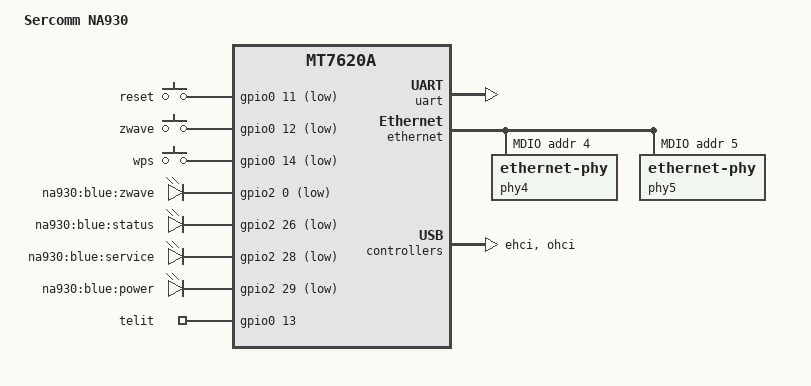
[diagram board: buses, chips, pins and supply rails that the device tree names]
/dts-v1/;

#include "mt7620a.dtsi"

/ {
	compatible = "ralink,mt7620a-eval-board", "ralink,mt7620a-soc";
	model = "Sercomm NA930";

	chosen {
		bootargs = "console=ttyS1,57600";
	};

	nand {
		#address-cells = <1>;
		#size-cells = <1>;
		compatible = "mtk,mt7620-nand";

		partition@0 {
			label = "u-boot";
			reg = <0x0 0x20000>;
			read-only;
		};

		partition@200000 {
			label = "factory";
			reg = <0x200000 0x40000>;
			read-only;
		};

		partition@240000 {
			label = "Config";
			reg = <0x240000 0x400000>;
			read-only;
		};

		partition@640000 {
			label = "firmware";
			reg = <0x640000 0x1400000>;
		};
	};

	gpio-keys-polled {
		compatible = "gpio-keys-polled";
		#address-cells = <1>;
		#size-cells = <0>;
		poll-interval = <20>;

		reset {
			label = "reset";
			gpios = <&gpio0 11 1>;
			linux,code = <0x198>;
		};

		zwave {
			label = "zwave";
			gpios = <&gpio0 12 1>;
			linux,code = <0x100>;
		};

		wps {
			label = "wps";
			gpios = <&gpio0 14 1>;
			linux,code = <0x211>;
		};
	};

	gpio-leds {
		compatible = "gpio-leds";

		zwave {
			label = "na930:blue:zwave";
			gpios = <&gpio2 0 1>;
		};

		status {
			label = "na930:blue:status";
			gpios = <&gpio2 26 1>;
		};

		service {
			label = "na930:blue:service";
			gpios = <&gpio2 28 1>;
		};

		power {
			label = "na930:blue:power";
			gpios = <&gpio2 29 1>;
		};
	};

	gpio_export {
		compatible = "gpio-export";
		#size-cells = <0>;

		telit {
			gpio-export,name = "telit";
			gpio-export,output = <1>;
			gpios = <&gpio0 13 0>;
		};
	};
};

&pinctrl {
	state_default: pinctrl0 {
		gpio {
			ralink,group = "i2c", "rgmii2", "spi", "ephy";
			ralink,function = "gpio";
		};

		uartf_gpio {
			ralink,group = "uartf";
			ralink,function = "gpio uartf";
		};
	};
};

&uart {
	status = "okay";
};

&gpio1 {
	status = "okay";
};

&gpio2 {
	status = "okay";
};

&ethernet {
	status = "okay";
	pinctrl-names = "default";
	pinctrl-0 = <&rgmii1_pins &mdio_pins>;
	mediatek,portmap = "llllw";

	port@4 {
		status = "okay";
		phy-handle = <&phy4>;
		phy-mode = "rgmii";
	};

	port@5 {
		status = "okay";
		phy-handle = <&phy5>;
		phy-mode = "rgmii";
	};

	mdio-bus {
		status = "okay";

		phy4: ethernet-phy@4 {
			reg = <4>;
			phy-mode = "rgmii";
		};

		phy5: ethernet-phy@5 {
			reg = <5>;
			phy-mode = "rgmii";
		};
	};
};

&gsw {
	mediatek,port4 = "gmac";
};

&ehci {
	status = "okay";
};

&ohci {
	status = "okay";
};
